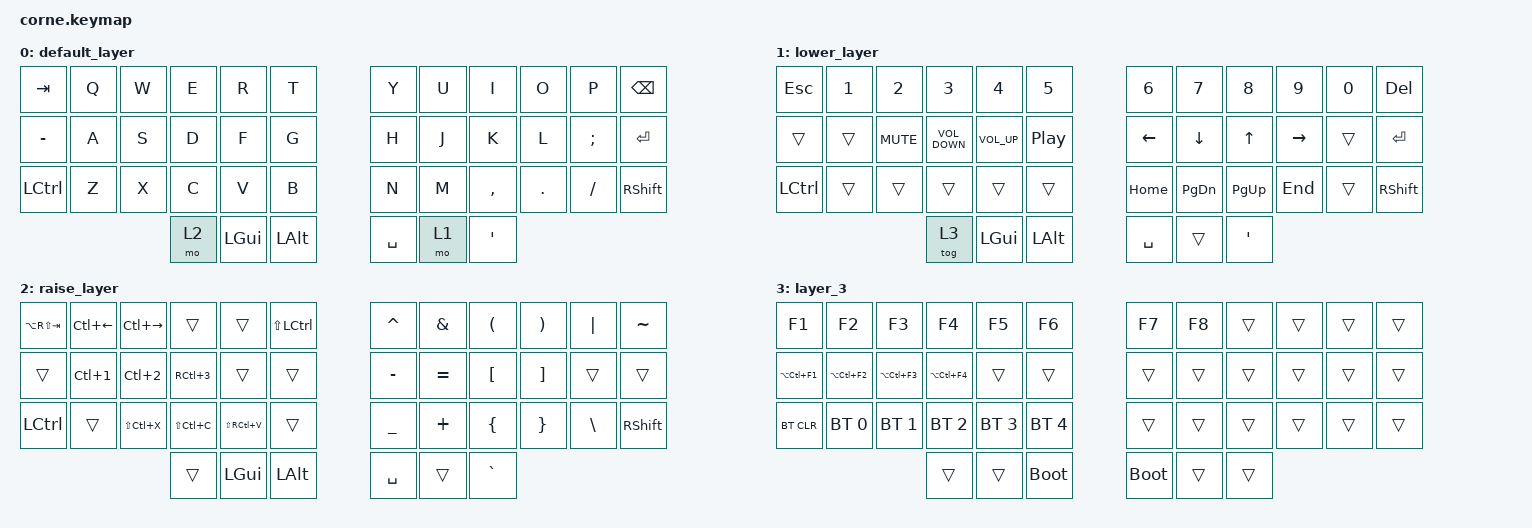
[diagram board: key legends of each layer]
/*
 * Copyright (c) 2020 The ZMK Contributors
 *
 * SPDX-License-Identifier: MIT
 */

#include <behaviors.dtsi>
#include <dt-bindings/zmk/bt.h>
#include <dt-bindings/zmk/keys.h>

/ {
    combos { compatible = "zmk,combos"; };

    keymap {
        compatible = "zmk,keymap";

        default_layer {
            // -----------------------------------------------------------------------------------------
            // |  TAB |  Q  |  W  |  E  |  R  |  T  |   |  Y  |  U   |  I  |  O  |  P  | BKSP |
            // | CTRL |  A  |  S  |  D  |  F  |  G  |   |  H  |  J   |  K  |  L  |  ;  |  '   |
            // | SHFT |  Z  |  X  |  C  |  V  |  B  |   |  N  |  M   |  ,  |  .  |  /  | ESC  |
            //                    | GUI | LWR | SPC |   | ENT | RSE  | ALT |

            bindings = <
&kp TAB    &kp Q  &kp W  &kp E  &kp R     &kp T           &kp Y      &kp U  &kp I      &kp O    &kp P     &kp BSPC
&kp MINUS  &kp A  &kp S  &kp D  &kp F     &kp G           &kp H      &kp J  &kp K      &kp L    &kp SEMI  &kp ENTER
&kp LCTRL  &kp Z  &kp X  &kp C  &kp V     &kp B           &kp N      &kp M  &kp COMMA  &kp DOT  &kp FSLH  &kp RIGHT_SHIFT
                         &mo 2  &kp LGUI  &kp LEFT_ALT    &kp SPACE  &mo 1  &kp SQT
            >;
        };

        lower_layer {
            // -----------------------------------------------------------------------------------------
            // |  TAB |  1  |  2  |  3  |  4  |  5  |   |  6  |  7  |  8  |  9  |  0  | BKSP |
            // | BTCLR| BT1 | BT2 | BT3 | BT4 | BT5 |   | LFT | DWN |  UP | RGT |     |      |
            // | SHFT |     |     |     |     |     |   |     |     |     |     |     |      |
            //                    | GUI |     | SPC |   | ENT |     | ALT |

            bindings = <
&kp ESCAPE        &kp N1  &kp N2      &kp N3             &kp N4        &kp N5              &kp N6     &kp N7         &kp N8            &kp N9     &kp N0  &kp DELETE
&trans            &trans  &kp K_MUTE  &kp C_VOLUME_DOWN  &kp C_VOL_UP  &kp C_PLAY_PAUSE    &kp LEFT   &kp DOWN       &kp UP            &kp RIGHT  &trans  &kp ENTER
&kp LEFT_CONTROL  &trans  &trans      &trans             &trans        &trans              &kp HOME   &kp PAGE_DOWN  &kp PAGE_UP       &kp END    &trans  &kp RIGHT_SHIFT
                                      &tog 3             &kp LEFT_GUI  &kp LEFT_ALT        &kp SPACE  &trans         &kp SINGLE_QUOTE
            >;
        };

        raise_layer {
            // -----------------------------------------------------------------------------------------
            // |  TAB |  !  |  @  |  #  |  $  |  %  |   |  ^  |  &  |  *  |  (  |  )  | BKSP |
            // | CTRL |     |     |     |     |     |   |  -  |  =  |  [  |  ]  |  \  |  `   |
            // | SHFT |     |     |     |     |     |   |  _  |  +  |  {  |  }  | "|" |  ~   |
            //                    | GUI |     | SPC |   | ENT |     | ALT |

            bindings = <
&kp LA(RS(TAB))  &kp LC(LEFT_ARROW)  &kp LC(RIGHT_ARROW)  &trans         &trans         &kp LS(LEFT_CONTROL)    &kp CARET  &kp AMPS   &kp LPAR   &kp RPAR  &kp PIPE       &kp TILDE
&trans           &kp LC(NUMBER_1)    &kp LC(NUMBER_2)     &kp RC(N3)     &trans         &trans                  &kp MINUS  &kp EQUAL  &kp LBKT   &kp RBKT  &trans         &trans
&kp LCTRL        &trans              &kp LS(LC(X))        &kp LS(LC(C))  &kp LS(RC(V))  &trans                  &kp UNDER  &kp PLUS   &kp LBRC   &kp RBRC  &kp BACKSLASH  &kp RIGHT_SHIFT
                                                          &trans         &kp LGUI       &kp LEFT_ALT            &kp SPACE  &trans     &kp GRAVE
            >;
        };

        layer_3 {
            bindings = <
&kp F1          &kp F2          &kp F3          &kp F4          &kp F5        &kp F6          &kp F7       &kp F8  &trans  &trans  &trans  &trans
&kp LA(LC(F1))  &kp LA(LC(F2))  &kp LA(LC(F3))  &kp LA(LC(F4))  &trans        &trans          &trans       &trans  &trans  &trans  &trans  &trans
&bt BT_CLR      &bt BT_SEL 0    &bt BT_SEL 1    &bt BT_SEL 2    &bt BT_SEL 3  &bt BT_SEL 4    &trans       &trans  &trans  &trans  &trans  &trans
                                                &trans          &trans        &bootloader     &bootloader  &trans  &trans
            >;
        };
    };
};
